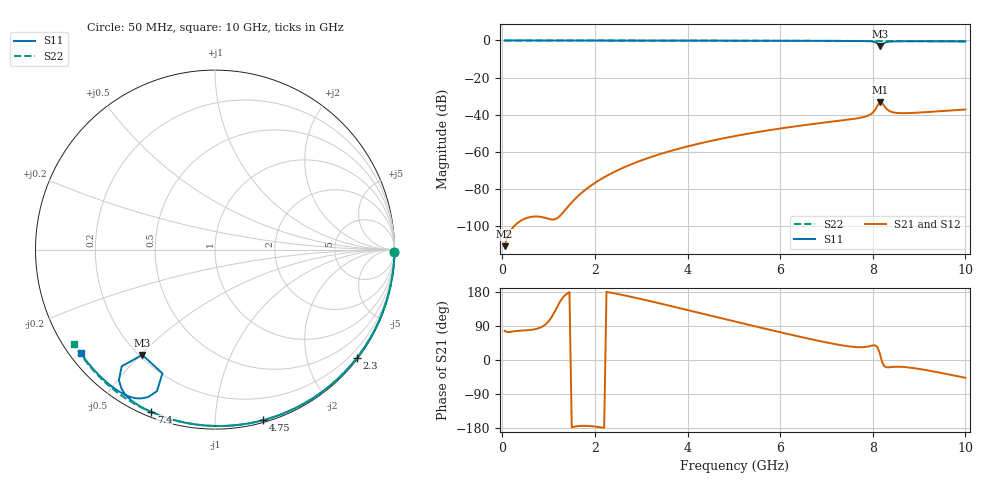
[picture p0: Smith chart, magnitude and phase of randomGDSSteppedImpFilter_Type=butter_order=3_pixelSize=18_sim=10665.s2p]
! freq	dB(S11)	phase(S11)	dB(S12)	phase(S12)
!  dB(S21)	phase(S21)	dB(S22)	phase(S22)
!S-par simulation data
#  GHz  S  DB  R 50
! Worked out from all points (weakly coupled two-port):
!   200 points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, 50 MHz to 10 GHz, reference 50 ohm
!   highest |S21| = -33.19 dB at 8.15 GHz (marker M1); lowest = -110.8 dB at 50 MHz (marker M2)
!   lowest |S11| = -2.9 dB at 8.15 GHz (marker M3), VSWR 5.97, Z = 10.6 - j25.3 ohm
!   |S11| at or under -10 dB: nowhere
!   |S22| runs from -0.5 to 0.0 dB; largest |S21 - S12| = 0
!   S11 on the Smith chart (normalised r, x): 50 MHz: open; 2.3 GHz: 0.03, -2.96; 4.75 GHz: 0.02, -1.32; 7.4 GHz: 0.02, -0.68; 10 GHz: 0.03, -0.34
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0.05  -0.00 -0.8  -110.82 77.3  -110.82 77.3  -0.00 -0.9
0.9  -0.02 -14.8  -95.41 90.8  -95.41 90.8  -0.02 -15.2
1.75  -0.04 -28.6  -81.32 -173.6  -81.32 -173.6  -0.04 -29.3
1.85  -0.04 -30.2  -79.36 -174.0  -79.36 -174.0  -0.04 -30.9
2.3  -0.05 -37.3  -72.33 178.7  -72.33 178.7  -0.05 -38.2
2.8  -0.06 -45.1  -66.57 166.3  -66.57 166.3  -0.06 -46.2
3.4  -0.07 -54.3  -61.27 149.4  -61.27 149.4  -0.07 -55.6
4.75  -0.11 -74.3  -52.84 109.6  -52.84 109.6  -0.11 -75.9
5.05  -0.12 -78.6  -51.39 100.8  -51.39 100.8  -0.12 -80.2
6.7  -0.20 -101.5  -45.03 53.9  -45.03 53.9  -0.20 -103.2
7.4  -0.25 -111.4  -42.87 37.4  -42.87 37.4  -0.25 -112.5
7.75  -0.31 -117.2  -41.57 33.7  -41.57 33.7  -0.27 -117.1
7.95  -0.47 -122.1  -39.86 36.9  -39.86 36.9  -0.29 -119.7
8.05  -0.88 -126.3  -37.42 38.9  -37.42 38.9  -0.30 -121.0
8.1  -1.59 -128.6  -35.26 34.4  -35.26 34.4  -0.30 -121.6
8.15  -2.94 -124.6  -33.19 17.9  -33.19 17.9  -0.30 -122.2
8.2  -2.51 -113.0  -33.55 -5.0  -33.55 -5.0  -0.30 -122.9
8.25  -1.38 -112.3  -35.42 -16.4  -35.42 -16.4  -0.31 -123.6
8.35  -0.66 -116.5  -37.88 -19.4  -37.88 -19.4  -0.32 -124.9
8.5  -0.45 -120.6  -39.00 -17.9  -39.00 -17.9  -0.33 -126.8
8.7  -0.40 -124.4  -39.17 -18.7  -39.17 -18.7  -0.35 -129.4
10  -0.50 -142.3  -37.19 -47.0  -37.19 -47.0  -0.49 -146.1
